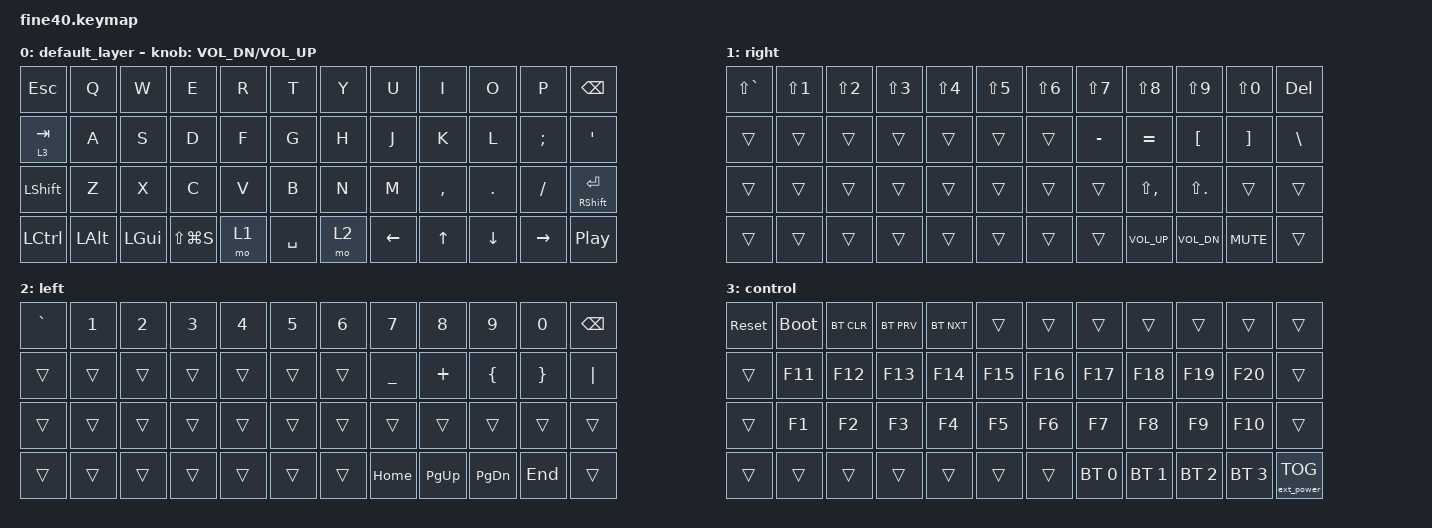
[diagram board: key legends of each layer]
/*
 * Aidan Smith (2021)
 *
 * SPDX-License-Identifier: MIT
 */

#include <behaviors.dtsi>
#include <dt-bindings/zmk/keys.h>
#include <dt-bindings/zmk/bt.h>
#include <dt-bindings/zmk/ext_power.h>

/ {
	keymap {
		compatible = "zmk,keymap";

		default_layer {
				// -----------------------------------------------------------------------------------------
				// |  ESC  |  Q   |  W   |  E    |  R   |  T   |   Y   |  U    |  I   |  O    |   P   | BSPC  |
				// |  TAB  |  A   |  S   |  D    |  F   |  G   |   H   |  J    |  K   |  L    |   ;   |  '    |
				// | SHIFT |  Z   |  X   |  C    |  V   |  B   |   N   |  M    |  ,   |  .    |   /   |  RET  |
				// | LCTL  | LALT | LGUI | PSCRN | RAIS | SPC  |  LOWR | LARW  | UARW |  DARW |  RARW |  P/P  |

			bindings = <
				&kp ESC   &kp Q    &kp W    &kp E    &kp R &kp T     &kp Y &kp U    &kp I     &kp O    &kp P     &kp BSPC
				&lt 3 TAB &kp A    &kp S    &kp D    &kp F &kp G     &kp H &kp J    &kp K     &kp L    &kp SEMI  &kp SQT
				&kp LSHFT &kp Z    &kp X    &kp C    &kp V &kp B     &kp N &kp M    &kp COMMA &kp DOT  &kp FSLH  &mt RSHIFT RET
				&kp LCTL  &kp LALT &kp LGUI &kp LS(LG(S)) &mo 1 &kp SPACE &mo 2 &kp LEFT &kp UP    &kp DOWN &kp RIGHT &kp C_PP
			>;

			sensor-bindings = <&inc_dec_kp C_VOL_DN C_VOL_UP>;
		};

		right {
			bindings = <
				&kp LS(GRAVE) &kp LS(N1) &kp LS(N2) &kp LS(N3) &kp LS(N4) &kp LS(N5) &kp LS(N6) &kp LS(N7) &kp LS(N8)    &kp LS(N9)   &kp LS(N0) &kp DEL
				&trans        &trans 	 &trans     &trans     &trans     &trans     &trans     &kp MINUS  &kp EQUAL     &kp LBKT     &kp RBKT   &kp BSLH
				&trans        &trans     &trans     &trans     &trans     &trans     &trans     &trans     &kp LS(COMMA) &kp LS(DOT)  &trans     &trans
				&trans        &trans     &trans     &trans     &trans     &trans     &trans     &trans &kp C_VOL_UP  &kp C_VOL_DN &kp C_MUTE   &trans
			>;
		};

		left {
			bindings = <
				&kp GRAVE &kp N1 &kp N2 &kp N3 &kp N4 &kp N5 &kp N6 &kp N7    &kp N8    &kp N9    &kp N0   &kp BSPC
				&trans    &trans &trans &trans &trans &trans &trans &kp UNDER &kp PLUS  &kp LBRC  &kp RBRC &kp PIPE
				&trans    &trans &trans &trans &trans &trans &trans &trans    &trans    &trans    &trans   &trans
				&trans    &trans &trans &trans &trans &trans &trans &kp HOME  &kp PG_UP &kp PG_DN &kp END  &trans
			>;
		};

		control {
			bindings = <
				&sys_reset &bootloader &bt BT_CLR &bt BT_PRV &bt BT_NXT &trans  &trans  &trans  &trans  &trans  &trans  &trans
				&trans &kp F11 	   &kp F12    &kp F13    &kp F14    &kp F15 &kp F16 &kp F17 &kp F18 &kp F19 &kp F20 &trans
				&trans &kp F1      &kp F2     &kp F3     &kp F4     &kp F5  &kp F6  &kp F7  &kp F8  &kp F9  &kp F10 &trans
				&trans &trans      &trans     &trans     &trans     &trans  &trans  &bt BT_SEL 0  &bt BT_SEL 1  &bt BT_SEL 2 &bt BT_SEL 3  &ext_power EP_TOG
			>;
		};
	};
};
